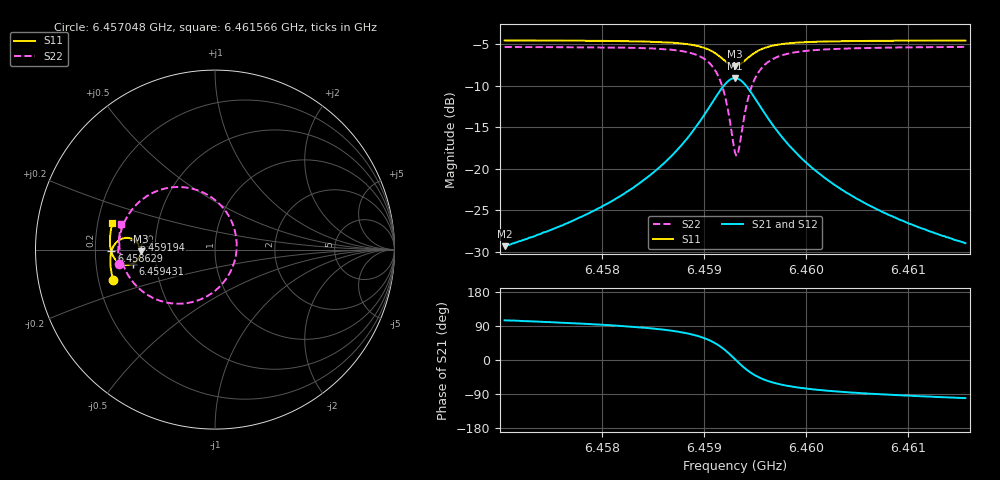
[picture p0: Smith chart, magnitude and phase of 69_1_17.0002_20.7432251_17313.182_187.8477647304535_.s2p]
#  HZ  S  RI  R  50.00
! Rohde & Schwarz Vector Network Analyzer
! Rohde-Schwarz,ZNB20-2Port,1311601062101988,3.16
! Created: UTC 3/20/2024, 10:55:08 PM
! freq[Hz]  re:S11  im:S11  re:S21  im:S21  re:S12  im:S12  re:S22  im:S22
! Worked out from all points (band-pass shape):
!   401 points, 6.457048 GHz to 6.461566 GHz, reference 50 ohm
!   highest |S21| = -9.09 dB at 6.459307 GHz (marker M1); lowest = -29.3 dB at 6.457048 GHz (marker M2)
!   |S21| within 3 dB of the highest: 6.45908 GHz to 6.459533 GHz (452.2 kHz wide, 0.007 % of centre)
!   lowest |S11| = -7.6 dB at 6.459307 GHz (marker M3), VSWR 2.42, Z = 20.7 - j0.506 ohm
!   |S11| at or under -10 dB: nowhere
!   |S22| runs from -18.4 to -5.3 dB; largest |S21 - S12| = 0.014
!   S11 on the Smith chart (normalised r, x): 6.457048 GHz: 0.26, -0.14; 6.458629 GHz: 0.27, -0.01; 6.459194 GHz: 0.38, +0.05; 6.459431 GHz: 0.37, -0.07; 6.461566 GHz: 0.26, +0.12
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6.4570481e9  -0.5676 -0.1681  -0.00871 0.0331  -0.00698 0.0331  -0.5347 -0.0775
6.4578048e9  -0.581 -0.1015  -0.00531 0.0513  -0.00271 0.0507  -0.5389 0.0121
6.4582001e9  -0.5835 -0.0618  0.000335 0.0696  0.00366 0.0683  -0.5307 0.0751
6.4585615e9  -0.5793 -0.0183  0.015 0.1003  0.0191 0.0975  -0.5032 0.1572
6.4586293e9  -0.577 -0.00877  0.0205 0.1089  0.0247 0.1056  -0.4929 0.1773
6.4588213e9  -0.5641 0.0216  0.0478 0.1401  0.0518 0.1351  -0.4419 0.2468
6.4589681e9  -0.5409 0.048  0.094 0.1709  0.0971 0.1642  -0.3566 0.3111
6.4591036e9  -0.4962 0.0655  0.1828 0.1873  0.1837 0.1799  -0.1944 0.3485
6.459194e9  -0.4509 0.0545  0.274 0.1548  0.2743 0.1491  -0.0259 0.2955
6.4592618e9  -0.4214 0.0215  0.3351 0.0814  0.3372 0.0761  0.09 0.1626
6.4593069e9  -0.4145 -0.0101  0.3511 0.0121  0.3549 0.00516  0.121 0.0335
6.4593408e9  -0.4185 -0.0343  0.3448 -0.0409  0.3489 -0.0503  0.1083 -0.0674
6.459386e9  -0.4345 -0.0609  0.3152 -0.1015  0.3176 -0.1137  0.0485 -0.1815
6.4594312e9  -0.4571 -0.0775  0.2724 -0.143  0.2716 -0.1564  -0.0384 -0.2565
6.4595215e9  -0.5011 -0.0846  0.1862 -0.174  0.1799 -0.1856  -0.21 -0.3016
6.4595893e9  -0.5257 -0.0773  0.1372 -0.1718  0.1291 -0.1808  -0.3044 -0.2858
6.4596683e9  -0.5457 -0.0642  0.0971 -0.1594  0.0886 -0.1657  -0.3792 -0.2504
6.4598265e9  -0.5676 -0.0365  0.0518 -0.131  0.0441 -0.1337  -0.46 -0.177
6.4600636e9  -0.5806 -0.000953  0.0223 -0.0988  0.0165 -0.0994  -0.5079 -0.0938
6.4603912e9  -0.5854 0.0386  0.00658 -0.0722  0.0024 -0.0717  -0.529 -0.0164
6.4608203e9  -0.5836 0.0821  -0.00152 -0.0527  -0.00431 -0.0518  -0.5334 0.0539
6.4615657e9  -0.572 0.1484  -0.00654 -0.0351  -0.00822 -0.0342  -0.5221 0.1431
